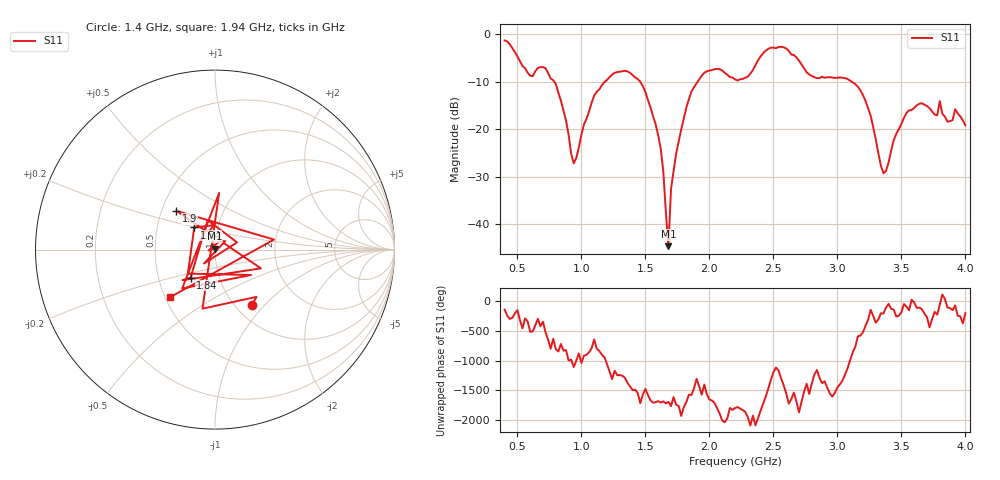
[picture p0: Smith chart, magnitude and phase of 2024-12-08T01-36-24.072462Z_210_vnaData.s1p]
!Created with skrf (http://scikit-rf.org).
# Hz S RI R 50.0
!freq ReS11 ImS11
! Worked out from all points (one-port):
!   181 points, 400 MHz to 4 GHz, reference 50 ohm
!   lowest |S11| = -44.7 dB at 1.68 GHz (marker M1), VSWR 1.01, Z = 49.8 + j0.554 ohm
!   |S11| at or under -10 dB: 787.2 MHz to 1.184 GHz (396.8 MHz wide, 40.3 % of centre); 1.46 GHz to 1.908 GHz (448.6 MHz wide, 26.6 % of centre); 3.112 GHz to end of sweep
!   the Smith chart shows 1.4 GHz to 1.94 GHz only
!   S11 on the Smith chart (normalised r, x): 1.4 GHz: 1.19, -0.85; 1.54 GHz: 0.77, +0.20; 1.84 GHz: 0.73, -0.24; 1.9 GHz: 0.60, +0.28; 1.94 GHz: 0.53, -0.32
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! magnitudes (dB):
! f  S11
! 400 MHz  -1.3
! 600 MHz  -8.7
! 720 MHz  -7.2
! 860 MHz  -16.1
! 940 MHz  -27.2
! 1.1 GHz  -12.9
! 1.3 GHz  -7.9
! 1.4 GHz  -8.6
! 1.54 GHz  -15.4
! 1.62 GHz  -24.2
! 1.68 GHz  -44.7
! 1.7 GHz  -32.7
! 1.76 GHz  -22.6
! 1.84 GHz  -13.7
! 1.9 GHz  -10.3
! 1.94 GHz  -8.7
! 2.2 GHz  -9.5
! 2.48 GHz  -2.8
! 2.66 GHz  -4.4
! 3.1 GHz  -9.8
! 3.22 GHz  -14.1
! 3.36 GHz  -29.3
! 3.56 GHz  -16.1
! 3.78 GHz  -17.1
! 3.8 GHz  -14.1
! 3.86 GHz  -18.4
! 3.92 GHz  -15.8
! 4 GHz  -19.2
